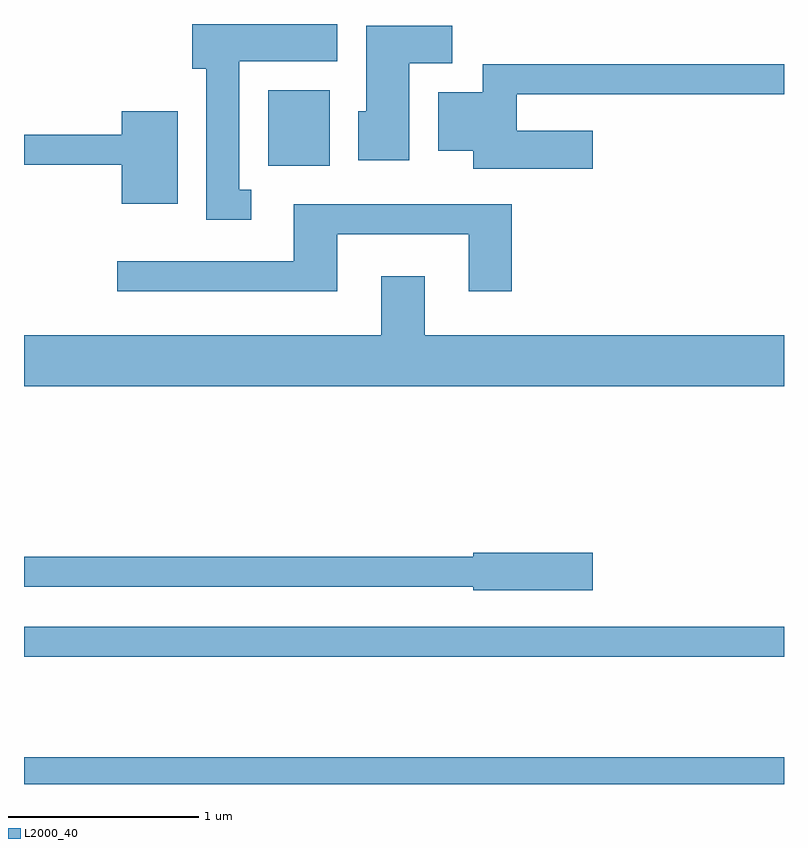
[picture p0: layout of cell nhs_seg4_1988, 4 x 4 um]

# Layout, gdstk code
import gdstk
lib = gdstk.Library(unit=1e-6, precision=1e-09)
def R(c, l, rs):  # rectangles x0, y0, x1, y1
    for r in rs: c.add(gdstk.rectangle(r[:2], r[2:], *l))
def P(c, l, *ps):  # polygons
    for p in ps: c.add(gdstk.Polygon(p, *l))
L2000_40 = (2000, 40)

nhs_seg4_1988 = lib.new_cell('nhs_seg4_1988')
R(nhs_seg4_1988, L2000_40, [(243.611,1285.982,247.611,1286.124), (243.611,1286.651,247.611,1286.809), (244.896,1289.236,245.219,1289.634)])
P(nhs_seg4_1988, L2000_40, [(244.808,1289.109),(244.744,1289.109),(244.744,1289.786),(245.259,1289.786),(245.259,1289.982),(244.496,1289.982),(244.496,1289.746),(244.571,1289.746),(244.571,1288.951),(244.808,1288.951)],
  [(245.639,1289.776),(245.864,1289.776),(245.864,1289.974),(245.411,1289.974),(245.411,1289.524),(245.371,1289.524),(245.371,1289.266),(245.639,1289.266)],
  [(246.604,1289.419),(246.204,1289.419),(246.204,1289.611),(247.611,1289.611),(247.611,1289.769),(246.026,1289.769),(246.026,1289.624),(245.791,1289.624),(245.791,1289.316),(245.976,1289.316),(245.976,1289.221),(246.604,1289.221)],
  [(244.419,1289.524),(244.126,1289.524),(244.126,1289.399),(243.611,1289.399),(243.611,1289.241),(244.126,1289.241),(244.126,1289.036),(244.419,1289.036)],
  [(245.259,1288.876),(245.951,1288.876),(245.951,1288.576),(246.179,1288.576),(246.179,1289.034),(245.031,1289.034),(245.031,1288.734),(244.103,1288.734),(244.103,1288.576),(245.259,1288.576)],
  [(247.611,1288.344),(245.719,1288.344),(245.719,1288.654),(245.491,1288.654),(245.491,1288.344),(243.611,1288.344),(243.611,1288.076),(247.611,1288.076)],
  [(246.604,1287.199),(245.976,1287.199),(245.976,1287.179),(243.611,1287.179),(243.611,1287.021),(245.976,1287.021),(245.976,1287.001),(246.604,1287.001)])

lib.write_gds('nhs_seg4_1988.gds')
